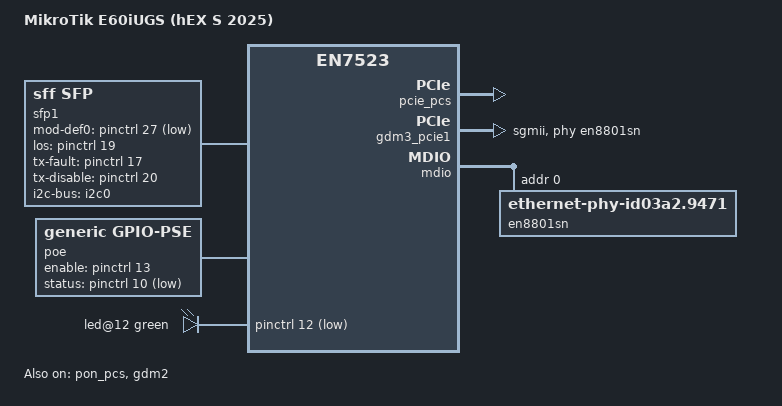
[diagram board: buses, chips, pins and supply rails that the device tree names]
/* SPDX-License-Identifier: GPL-2.0-or-later OR MIT */
#include "en7523-mikrotik.dtsi"

/ {
	model = "MikroTik E60iUGS (hEX S 2025)";
	compatible = "mikrotik,e60iugs", "airoha,en7523";

	sfp1: sfp {
		compatible = "sff,sfp";

		maximum-power-milliwatt = <3000>;
		i2c-bus = <&i2c0>;

		mod-def0-gpios = <&pinctrl 27 GPIO_ACTIVE_LOW>;
		los-gpios = <&pinctrl 19 GPIO_ACTIVE_HIGH>;
		tx-fault-gpios = <&pinctrl 17 GPIO_ACTIVE_HIGH>;
		tx-disable-gpios = <&pinctrl 20 GPIO_ACTIVE_HIGH>;
	};

	poe: ethernet-pse {
		compatible = "generic,gpio-pse", "mikrotik,gpio-poe";

		enable-gpios = <&pinctrl 13 GPIO_ACTIVE_HIGH>;
		status-gpios = <&pinctrl 10 GPIO_ACTIVE_LOW>;

		vpse-microvolt = <48000000>;

		pse-pis {
			#address-cells = <1>;
			#size-cells = <0>;

			pse_pi0: pse-pi@0 {
				reg = <0>;
				#pse-cells = <0>;
			};
		};
	};
};

&leds {
	// sfp1
	led@12 {
		color = <LED_COLOR_ID_GREEN>;
		function = LED_FUNCTION_WAN;
		function-enumerator = <12>;
		gpios = <&pinctrl 12 GPIO_ACTIVE_LOW>;
	};
};

&pcie_pcs {
	status = "okay";
};

&pon_pcs {
	status = "okay";
};

&gdm2 {
	status = "okay";

	nvmem-cells = <&macaddr_hard 5>;
	nvmem-cell-names = "mac-address";

	openwrt,netdev-name = "sfp";

	phy-mode = "2500base-x";
	managed = "in-band-status";
	sfp = <&sfp1>;
};

&gdm3_pcie1 {
	status = "okay";

	nvmem-cells = <&macaddr_hard 0>;
	nvmem-cell-names = "mac-address";

	openwrt,netdev-name = "wan";

	phy-mode = "sgmii";
	managed = "in-band-status";
	phy-handle = <&en8801sn>;
};

&mdio {
	en8801sn: ethernet-phy@0 {
		compatible = "ethernet-phy-id03a2.9471";
		reg = <0x0>;
		phy-mode = "sgmii";

		leds {
			#address-cells = <1>;
			#size-cells = <0>;

			led@1 {
				reg = <1>;

				function = LED_FUNCTION_WAN;
				color = <LED_COLOR_ID_GREEN>;
			};
		};
	};
};

&gsw_phy4 {
	pses = <&pse_pi0>;
};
